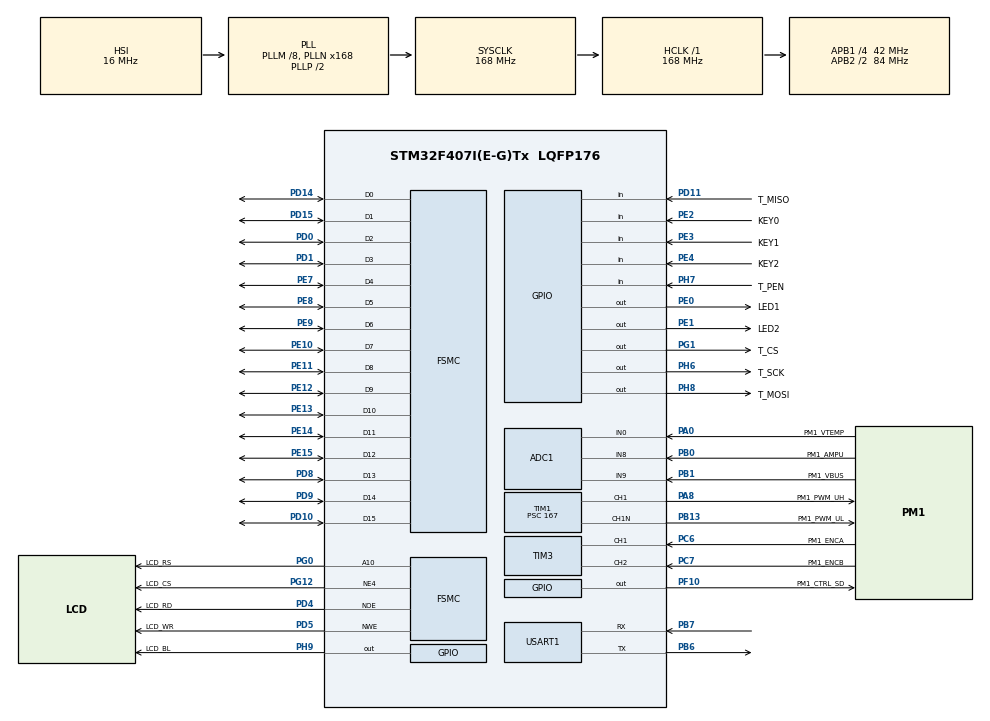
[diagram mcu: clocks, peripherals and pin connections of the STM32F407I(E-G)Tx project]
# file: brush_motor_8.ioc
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ADC1.Channel-0\#ChannelRegularConversion=ADC_CHANNEL_8
ADC1.Channel-1\#ChannelRegularConversion=ADC_CHANNEL_9
ADC1.Channel-2\#ChannelRegularConversion=ADC_CHANNEL_0
ADC1.ContinuousConvMode=ENABLE
ADC1.DMAContinuousRequests=ENABLE
ADC1.NbrOfConversion=3
ADC1.NbrOfConversionFlag=1
ADC1.Rank-0\#ChannelRegularConversion=1
ADC1.Rank-1\#ChannelRegularConversion=2
ADC1.Rank-2\#ChannelRegularConversion=3
ADC1.SamplingTime-0\#ChannelRegularConversion=ADC_SAMPLETIME_480CYCLES
ADC1.SamplingTime-1\#ChannelRegularConversion=ADC_SAMPLETIME_480CYCLES
ADC1.SamplingTime-2\#ChannelRegularConversion=ADC_SAMPLETIME_480CYCLES
ADC1.ScanConvMode=ENABLE
ADC1.master=1
Dma.ADC1.0.Direction=DMA_PERIPH_TO_MEMORY
Dma.ADC1.0.FIFOMode=DMA_FIFOMODE_DISABLE
Dma.ADC1.0.Instance=DMA2_Stream0
Dma.ADC1.0.MemDataAlignment=DMA_MDATAALIGN_HALFWORD
Dma.ADC1.0.MemInc=DMA_MINC_ENABLE
Dma.ADC1.0.Mode=DMA_CIRCULAR
Dma.ADC1.0.PeriphDataAlignment=DMA_PDATAALIGN_HALFWORD
Dma.ADC1.0.PeriphInc=DMA_PINC_DISABLE
Dma.ADC1.0.Priority=DMA_PRIORITY_MEDIUM
Dma.Request0=ADC1
FSMC.AccessMode4=FSMC_ACCESS_MODE_A
FSMC.AddressSetupTime4=2
FSMC.BusTurnAroundDuration4=0
FSMC.DataSetupTime4=5
FSMC.ExtendedAccessMode4=FSMC_ACCESS_MODE_A
FSMC.ExtendedAddressSetupTime4=0
FSMC.ExtendedBusTurnAroundDuration4=0
FSMC.ExtendedDataSetupTime4=255
FSMC.ExtendedMode4=FSMC_EXTENDED_MODE_ENABLE
FSMC.NSBank4=FSMC_NORSRAM_BANK4
FSMC.WriteOperation4=FSMC_WRITE_OPERATION_ENABLE
Mcu.Family=STM32F4
Mcu.Name=STM32F407I(E-G)Tx
Mcu.Package=LQFP176
NVIC.ADC_IRQn=true\:2\:0\:true\:false\:true\:true\:true\:true
NVIC.DMA2_Stream0_IRQn=true\:0\:0\:false\:false\:true\:false\:true\:true
NVIC.PriorityGroup=NVIC_PRIORITYGROUP_4
NVIC.TIM3_IRQn=true\:2\:0\:true\:false\:true\:true\:true\:true
NVIC.TIM6_DAC_IRQn=true\:3\:0\:true\:false\:true\:true\:true\:true
PA0-WKUP.GPIO_Label=PM1_VTEMP
PA0-WKUP.Signal=ADCx_IN0
PA13.Mode=Serial_Wire
PA13.Signal=SYS_JTMS-SWDIO
PA14.Mode=Serial_Wire
PA14.Signal=SYS_JTCK-SWCLK
PA8.GPIO_Label=PM1_PWM_UH
PA8.GPIO_PuPd=GPIO_PULLDOWN
PA8.GPIO_Speed=GPIO_SPEED_FREQ_HIGH
PA8.Signal=S_TIM1_CH1
PB0.GPIO_Label=PM1_AMPU
PB0.Signal=ADCx_IN8
PB1.GPIO_Label=PM1_VBUS
PB1.Signal=ADCx_IN9
PB13.GPIO_Label=PM1_PWM_UL
PB13.GPIO_PuPd=GPIO_PULLUP
PB13.GPIO_Speed=GPIO_SPEED_FREQ_HIGH
PB13.Mode=PWM Generation1 CH1 CH1N
PB13.Signal=TIM1_CH1N
PB6.Mode=Asynchronous
PB6.Signal=USART1_TX
PB7.Mode=Asynchronous
PB7.Signal=USART1_RX
PC14-OSC32_IN.Mode=LSE-External-Oscillator
PC14-OSC32_IN.Signal=RCC_OSC32_IN
PC15-OSC32_OUT.Mode=LSE-External-Oscillator
PC15-OSC32_OUT.Signal=RCC_OSC32_OUT
PC6.GPIO_Label=PM1_ENCA
PC6.GPIO_Speed=GPIO_SPEED_FREQ_HIGH
PC6.Signal=S_TIM3_CH1
PC7.GPIO_Label=PM1_ENCB
PC7.GPIO_Speed=GPIO_SPEED_FREQ_HIGH
PC7.Signal=S_TIM3_CH2
PD0.GPIO_PuPd=GPIO_PULLUP
PD0.Signal=FSMC_D2_DA2
PD1.GPIO_PuPd=GPIO_PULLUP
PD1.Signal=FSMC_D3_DA3
PD10.GPIO_PuPd=GPIO_PULLUP
PD10.Signal=FSMC_D15_DA15
PD11.GPIO_Label=T_MISO
PD11.Signal=GPIO_Input
PD14.GPIO_PuPd=GPIO_PULLUP
PD14.Signal=FSMC_D0_DA0
PD15.GPIO_PuPd=GPIO_PULLUP
PD15.Signal=FSMC_D1_DA1
PD4.GPIO_Label=LCD_RD
PD4.GPIO_PuPd=GPIO_PULLUP
PD4.Signal=FSMC_NOE
PD5.GPIO_Label=LCD_WR
PD5.GPIO_PuPd=GPIO_PULLUP
PD5.Signal=FSMC_NWE
PD8.GPIO_PuPd=GPIO_PULLUP
PD8.Signal=FSMC_D13_DA13
PD9.GPIO_PuPd=GPIO_PULLUP
PD9.Signal=FSMC_D14_DA14
PE0.GPIO_Label=LED1
PE0.PinState=GPIO_PIN_SET
PE0.Signal=GPIO_Output
PE1.GPIO_Label=LED2
PE1.PinState=GPIO_PIN_SET
PE1.Signal=GPIO_Output
PE10.GPIO_PuPd=GPIO_PULLUP
PE10.Signal=FSMC_D7_DA7
PE11.GPIO_PuPd=GPIO_PULLUP
PE11.Signal=FSMC_D8_DA8
PE12.GPIO_PuPd=GPIO_PULLUP
PE12.Signal=FSMC_D9_DA9
PE13.GPIO_PuPd=GPIO_PULLUP
PE13.Signal=FSMC_D10_DA10
PE14.GPIO_PuPd=GPIO_PULLUP
PE14.Signal=FSMC_D11_DA11
PE15.GPIO_PuPd=GPIO_PULLUP
PE15.Signal=FSMC_D12_DA12
PE2.GPIO_Label=KEY0
PE2.GPIO_PuPd=GPIO_PULLUP
PE2.Signal=GPIO_Input
PE3.GPIO_Label=KEY1
PE3.GPIO_PuPd=GPIO_PULLUP
PE3.Signal=GPIO_Input
PE4.GPIO_Label=KEY2
PE4.GPIO_PuPd=GPIO_PULLUP
PE4.Signal=GPIO_Input
PE7.GPIO_PuPd=GPIO_PULLUP
PE7.Signal=FSMC_D4_DA4
PE8.GPIO_PuPd=GPIO_PULLUP
PE8.Signal=FSMC_D5_DA5
PE9.GPIO_PuPd=GPIO_PULLUP
PE9.Signal=FSMC_D6_DA6
PF10.GPIO_Label=PM1_CTRL_SD
PF10.Signal=GPIO_Output
PG0.GPIO_Label=LCD_RS
PG0.GPIO_PuPd=GPIO_PULLUP
PG0.Signal=FSMC_A10
PG1.GPIO_Label=T_CS
PG1.Signal=GPIO_Output
PG12.GPIO_Label=LCD_CS
PG12.GPIO_PuPd=GPIO_PULLUP
PG12.Mode=NorPsramChipSelect4_4
PG12.Signal=FSMC_NE4
PH0-OSC_IN.Mode=HSE-External-Oscillator
PH0-OSC_IN.Signal=RCC_OSC_IN
PH1-OSC_OUT.Mode=HSE-External-Oscillator
PH1-OSC_OUT.Signal=RCC_OSC_OUT
PH6.GPIO_Label=T_SCK
PH6.Signal=GPIO_Output
PH7.GPIO_Label=T_PEN
PH7.Signal=GPIO_Input
PH8.GPIO_Label=T_MOSI
PH8.Signal=GPIO_Output
PH9.GPIO_Label=LCD_BL
PH9.Signal=GPIO_Output
ProjectManager.HeapSize=0x200
ProjectManager.StackSize=0x400
ProjectManager.TargetToolchain=MDK-ARM V5.27
RCC.48MHZClocksFreq_Value=84000000
RCC.AHBFreq_Value=168000000
RCC.APB1CLKDivider=RCC_HCLK_DIV4
RCC.APB1Freq_Value=42000000
RCC.APB1TimFreq_Value=84000000
RCC.APB2CLKDivider=RCC_HCLK_DIV2
RCC.APB2Freq_Value=84000000
RCC.APB2TimFreq_Value=168000000
RCC.CortexFreq_Value=168000000
RCC.FLatency=FLASH_LATENCY_5
RCC.HCLKFreq_Value=168000000
RCC.HSE_VALUE=25000000
RCC.HSI_VALUE=16000000
RCC.PLLM=8
RCC.PLLN=168
RCC.SYSCLKFreq_VALUE=168000000
RCC.SYSCLKSource=RCC_SYSCLKSOURCE_PLLCLK
RCC.VCOOutputFreq_Value=336000000
SH.ADCx_IN0.0=ADC1_IN0,IN0
SH.ADCx_IN8.0=ADC1_IN8,IN8
SH.ADCx_IN9.0=ADC1_IN9,IN9
SH.FSMC_A10.0=FSMC_A10,A10_4
SH.FSMC_D0_DA0.0=FSMC_D0,16b-d4
SH.FSMC_D10_DA10.0=FSMC_D10,16b-d4
SH.FSMC_D11_DA11.0=FSMC_D11,16b-d4
SH.FSMC_D12_DA12.0=FSMC_D12,16b-d4
SH.FSMC_D13_DA13.0=FSMC_D13,16b-d4
SH.FSMC_D14_DA14.0=FSMC_D14,16b-d4
SH.FSMC_D15_DA15.0=FSMC_D15,16b-d4
SH.FSMC_D1_DA1.0=FSMC_D1,16b-d4
SH.FSMC_D2_DA2.0=FSMC_D2,16b-d4
SH.FSMC_D3_DA3.0=FSMC_D3,16b-d4
SH.FSMC_D4_DA4.0=FSMC_D4,16b-d4
SH.FSMC_D5_DA5.0=FSMC_D5,16b-d4
SH.FSMC_D6_DA6.0=FSMC_D6,16b-d4
SH.FSMC_D7_DA7.0=FSMC_D7,16b-d4
SH.FSMC_D8_DA8.0=FSMC_D8,16b-d4
SH.FSMC_D9_DA9.0=FSMC_D9,16b-d4
SH.FSMC_NOE.0=FSMC_NOE,Lcd4
SH.FSMC_NWE.0=FSMC_NWE,Lcd4
SH.S_TIM1_CH1.0=TIM1_CH1,PWM Generation1 CH1 CH1N
SH.S_TIM3_CH1.0=TIM3_CH1,Encoder_Interface
SH.S_TIM3_CH2.0=TIM3_CH2,Encoder_Interface
TIM1.Channel-PWM\ Generation1\ CH1\ CH1N=TIM_CHANNEL_1
TIM1.Period=999
TIM1.Prescaler=167
TIM3.EncoderMode=TIM_ENCODERMODE_TI12
TIM3.IC1Filter=0
TIM3.IC2Filter=0
TIM6.Period=999
TIM6.Prescaler=8399
USART1.VirtualMode=VM_ASYNC
VP_TIM1_VS_ClockSourceINT.Mode=Internal
VP_TIM6_VS_ClockSourceINT.Mode=Enable_Timer
board=custom

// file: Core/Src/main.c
/* USER CODE BEGIN Header */
/**
 ******************************************************************************
 * @file           : main.c
 * @brief          : Main program body
 ******************************************************************************
 * @attention
 *
 * Copyright (c) 2025 STMicroelectronics.
 * All rights reserved.
 *
 * This software is licensed under terms that can be found in the LICENSE file
 * in the root directory of this software component.
 * If no LICENSE file comes with this software, it is provided AS-IS.
 *
 ******************************************************************************
 */
/* USER CODE END Header */
#include "main.h"
#include "adc.h"
#include "dma.h"
#include "tim.h"
#include "usart.h"
#include "gpio.h"
#include "fsmc.h"

/* USER CODE BEGIN Includes */
#include <stdlib.h>
#include <stdio.h>
#include "bsp_lcd.h"
#include "bsp_key_led.h"
#include "bsp_brush_motor.h"
#include "bsp_encoder.h"
#include "bsp_current_sensor.h"
#include "bsp_voltage_sensor.h"
#include "bsp_temper_sensor.h"
#include "speed_loop.h"
#include "pid_controller.h"
#include "vofa_plus.h" // 相对brush_motor_7新增：引入VOFA+头文件，集成调试功能
/* USER CODE END Includes */

/* USER CODE BEGIN PV */
// BrushMotorConfig pm2_motor = {
//     .htim = &htim8, // 使用TIM8作为电机控制定时器
//     .tim_channel = TIM_CHANNEL_1, // 使用通道1
//     .tim_arr = 1000,              // 自动重装载值，假设为1000
//     .sd_port = PM2_SD_GPIO_Port,  //
//     .sd_pin = PM2_SD_Pin          //
// };
BrushMotorConfig pm1_motor = {
    .htim = &htim1,                   // 使用TIM1作为电机控制定时器
    .tim_channel = TIM_CHANNEL_1,     // 使用通道1
    .tim_arr = 1000,                  // 自动重装载值，假设为1000
    .sd_port = PM1_CTRL_SD_GPIO_Port, // GPIOF
    .sd_pin = PM1_CTRL_SD_Pin         // PF10
};

/** 本例程新增的代码 **/
typedef enum
{
  MODE_OPEN_LOOP = 0,        // 开环模式，直接设置PWM占空比
  MODE_SPEED_CLOSED_LOOP = 1 // 闭环模式，设置目标RPM
} RunMode_t;

RunMode_t current_mode = MODE_SPEED_CLOSED_LOOP; // 默认当前模式为开环模式
float target_val = 0.0f;                         // 默认目标值为0(可能是Duty或RPM)
extern PID_Handle_t hspeed_pid; // 这样你才能在 main 里的 LCD 显示函数读取 pid 数据

uint8_t lcd_buf[50];                             // LCD显示缓冲区
/** 本例程新增的代码 **/

// 电流传感器校准相关，本例程暂时不用
//static uint8_t current_calibrated = 0; // 校准完成标记（0：未校准，1：已校准）
//static uint8_t calibrate_request = 0;  // 校准请求（0：无请求，1：需要校准）

extern uint16_t adc_raw_data[ADC_TOTAL_SAMPLES]; // 原始ADC采样值（单通道×采样次数）
extern float adc_filtered_data[ADC_CHANNEL_NUM]; // 滤波后的ADC平均值（浮点型）

// 相对于brush_motor_7新增：VOFA+发送频率计数器（10ms*5=50ms发送一次）
uint16_t vofa_send_cnt = 0; // VOFA+发送频率计数器，配合定时器中断实现定期发送调试数据到VOFA+
/* USER CODE END PV */

void SystemClock_Config(void);

int main(void)
{

  /* MCU Configuration--------------------------------------------------------*/

  /* Reset of all peripherals, Initializes the Flash interface and the Systick. */
  HAL_Init();

  /* Configure the system clock */
  SystemClock_Config();

  /* Initialize all configured peripherals */
  MX_GPIO_Init();
  MX_DMA_Init();
  MX_FSMC_Init();
  MX_TIM1_Init();
  MX_TIM3_Init();
  MX_TIM6_Init();
  MX_USART1_UART_Init();
  MX_ADC1_Init();
  /* USER CODE BEGIN 2 */
  DWT_Init(); // 初始化DWT

  Key_Init();
  Led_Init();
  lcd_init();

  lcd_show_string(100, 10, 300, 32, 32, "Dr.GAO-Motor-1", RED);
  lcd_show_string(10, 60, 450, 24, 24, "Chap10: Speed Loop PID", BLUE);

  BSP_Encoder_Init(); // 初始化编码器模块
  // 根据实际使用的编码器进行启动
  BrushMotor_Init(&pm1_motor);
  BSP_Encoder_Start(ENCODER_PM1); // 若编码器计数停止，启动编码器
  HAL_ADC_Start_DMA(&hadc1, (uint32_t*)adc_raw_data, ADC_TOTAL_SAMPLES); // 启动ADC1的DMA采集
  BSP_CurrentSensor_Init();
  BSP_VoltageSensor_Init();
  BSP_TemperSensor_Init();

  SpeedLoop_Init(); // 初始化速度闭环控制模块

  VOFA_Plus_Init(); // 初始化VOFA+模块

  HAL_TIM_Base_Start_IT(&htim6); // 启动定时器6中断，用于更新EnCoder、电流采样等信息
  /* USER CODE END 2 */

  /* Infinite loop */
  /* USER CODE BEGIN WHILE */
  KeyPressedID key_id = KEY_None;
  int duty = 0;

  while (1)
  {
    /* --- 1. 按键处理 --- */
    key_id = Key_Scan();
    if (key_id == KEY0_Pressed) //k0,用于切换模式（开环控制 or 闭环控制）
    {
      // 切换模式前，先停车；
      target_val = 0.0f;
      BrushMotor_Stop();

      if (current_mode == MODE_OPEN_LOOP)
      {
        current_mode = MODE_SPEED_CLOSED_LOOP;
        lcd_show_string(10, 60, 270, 24, 24, "Mode: Speed Closed Loop", GREEN);
      }
      else
      {
        current_mode = MODE_OPEN_LOOP;
        lcd_show_string(10, 60, 270, 24, 24, "Mode: Open Loop         ", GREEN);
      }
    }
    else if (key_id == KEY1_Pressed) // k1，加速 / 反转减速
    {
      if (current_mode == MODE_OPEN_LOOP)
      {
        target_val += 10.0f; // 开环模式下，增加PWM占空比
        if (target_val > 100.0f)
          target_val = 100.0f; // 限幅
      }
      else // 闭环模式下，增加目标RPM
      {
        target_val += 20.0f; // 增加50 RPM
        if (target_val > 200.0f)
          target_val = 200.0f; // 限制最高目标转速
      }
      BrushMotor_Enable();
    }
    else if (key_id == KEY2_Pressed)  // k2，减速 / 反转加速
    {
      if (current_mode == MODE_OPEN_LOOP)
      {
        target_val -= 10.0f; // 开环模式下，减少PWM占空比
        if (target_val < -100.0f)
          target_val = -100.0f; // 限幅
      }
      else // 闭环模式下，减少目标RPM
      {
        target_val -= 20.0f; // 减少50 RPM
        if (target_val < -200.0f)
          target_val = -200.0f; // 限幅
      }
      BrushMotor_Enable();
    }

    /* --- 2. 执行电机控制逻辑 --- */
    if (current_mode == MODE_OPEN_LOOP)
    {
      // 开环模式，直接设置PWM占空比
      duty = (int)target_val;
      BrushMotor_SetSpeed(abs(duty)); // 设置速度
      if (duty > 0)
        BrushMotor_SetDirection(MOTOR_FORWARD); // 正转
      else if (duty < 0)
        BrushMotor_SetDirection(MOTOR_REVERSE); // 反转
      else
        BrushMotor_Stop(); // 停止
    }
    else
    {
      // 闭环模式，只需要设置目标RPM
      SpeedLoop_SetTargetRPM(target_val);
    }

    /* --- 3. 屏幕刷新 & 串口发送 (每 200ms 刷一次，避免闪烁) --- */
    static uint32_t last_disp_time = 0;
    static float current_duty = 0;
    if (HAL_GetTick() - last_disp_time > 200)
    {
      // 1. 显示目标值
      sprintf((char *)lcd_buf, "Target: %6.1f   ", target_val);
      lcd_show_string(10, 100, 240, 24, 24, (char *)lcd_buf, BLUE);

      // 2. 显示实际实际转速
      float real_rpm = BSP_Encoder_GetSpeedRPM(ENCODER_PM1);
      sprintf((char *)lcd_buf, "Actual: %6.1f RPM   ", real_rpm);
      lcd_show_string(10, 140, 240, 24, 24, (char *)lcd_buf, BLACK);

      // 3. 显示PWM
      if (current_mode == MODE_OPEN_LOOP)
      {
        current_duty = target_val; // 开环模式下，目标值是pwm输出值
      }
      else
      {
        // 闭环模式下，占空比是PID的计算输出结果
        extern PID_Handle_t hspeed_pid;
        current_duty = hspeed_pid.Output;
      }
      sprintf((char *)lcd_buf, "Duty  : %6.1f %% ", current_duty);
      lcd_show_string(10, 180, 240, 24, 24, (char *)lcd_buf, RED);
      last_disp_time = HAL_GetTick();
    }

    HAL_Delay(10);
    /* USER CODE END WHILE */

  }
}

void SystemClock_Config(void)
{
  RCC_OscInitTypeDef RCC_OscInitStruct = {0};
  RCC_ClkInitTypeDef RCC_ClkInitStruct = {0};

  /** Configure the main internal regulator output voltage
  */
  __HAL_RCC_PWR_CLK_ENABLE();
  __HAL_PWR_VOLTAGESCALING_CONFIG(PWR_REGULATOR_VOLTAGE_SCALE1);

  /** Initializes the RCC Oscillators according to the specified parameters
  * in the RCC_OscInitTypeDef structure.
  */
  RCC_OscInitStruct.OscillatorType = RCC_OSCILLATORTYPE_HSI;
  RCC_OscInitStruct.HSIState = RCC_HSI_ON;
  RCC_OscInitStruct.HSICalibrationValue = RCC_HSICALIBRATION_DEFAULT;
  RCC_OscInitStruct.PLL.PLLState = RCC_PLL_ON;
  RCC_OscInitStruct.PLL.PLLSource = RCC_PLLSOURCE_HSI;
  RCC_OscInitStruct.PLL.PLLM = 8;
  RCC_OscInitStruct.PLL.PLLN = 168;
  RCC_OscInitStruct.PLL.PLLP = RCC_PLLP_DIV2;
  RCC_OscInitStruct.PLL.PLLQ = 4;
  if (HAL_RCC_OscConfig(&RCC_OscInitStruct) != HAL_OK)
  {
    Error_Handler();
  }

  /** Initializes the CPU, AHB and APB buses clocks
  */
  RCC_ClkInitStruct.ClockType = RCC_CLOCKTYPE_HCLK|RCC_CLOCKTYPE_SYSCLK
                              |RCC_CLOCKTYPE_PCLK1|RCC_CLOCKTYPE_PCLK2;
  RCC_ClkInitStruct.SYSCLKSource = RCC_SYSCLKSOURCE_PLLCLK;
  RCC_ClkInitStruct.AHBCLKDivider = RCC_SYSCLK_DIV1;
  RCC_ClkInitStruct.APB1CLKDivider = RCC_HCLK_DIV4;
  RCC_ClkInitStruct.APB2CLKDivider = RCC_HCLK_DIV2;

  if (HAL_RCC_ClockConfig(&RCC_ClkInitStruct, FLASH_LATENCY_5) != HAL_OK)
  {
    Error_Handler();
  }
}

/* USER CODE BEGIN 4 */
// 中断回调函数
void HAL_TIM_PeriodElapsedCallback(TIM_HandleTypeDef *htim)
{
  if (htim->Instance == TIM3 || htim->Instance == TIM2)
  {
    BSP_Encoder_HandleOverflow(htim);
  }
  else if (htim->Instance == TIM6)
  {
    // 1.无论什么模式，都要更新速度计算
    BSP_Encoder_UpdateSpeed();  // 更新转速计算

    // 2.闭环模式下，执行速度闭环任务
    if (current_mode == MODE_SPEED_CLOSED_LOOP)
    {
      SpeedLoop_Task();
    }

    // 3. 更新各传感器数据（无论开环还是闭环都更新，保持数据最新）
    BSP_CurrentSensor_Update(); // 更新电流检测结果
    BSP_VoltageSensor_Update(); // 更新电压检测结果
    BSP_TemperSensor_Update();  // 更新温度检测结果

    // 4. VOFA+定期发送调试数据
    vofa_send_cnt++;
    if (vofa_send_cnt >= 5)
    {
      vofa_send_cnt = 0;
      VOFA_Plus_SendSpeedLoopData();
    }
  }
}

/* USER CODE END 4 */

void Error_Handler(void)
{
  __disable_irq();
  while (1)
  {
  }
}
